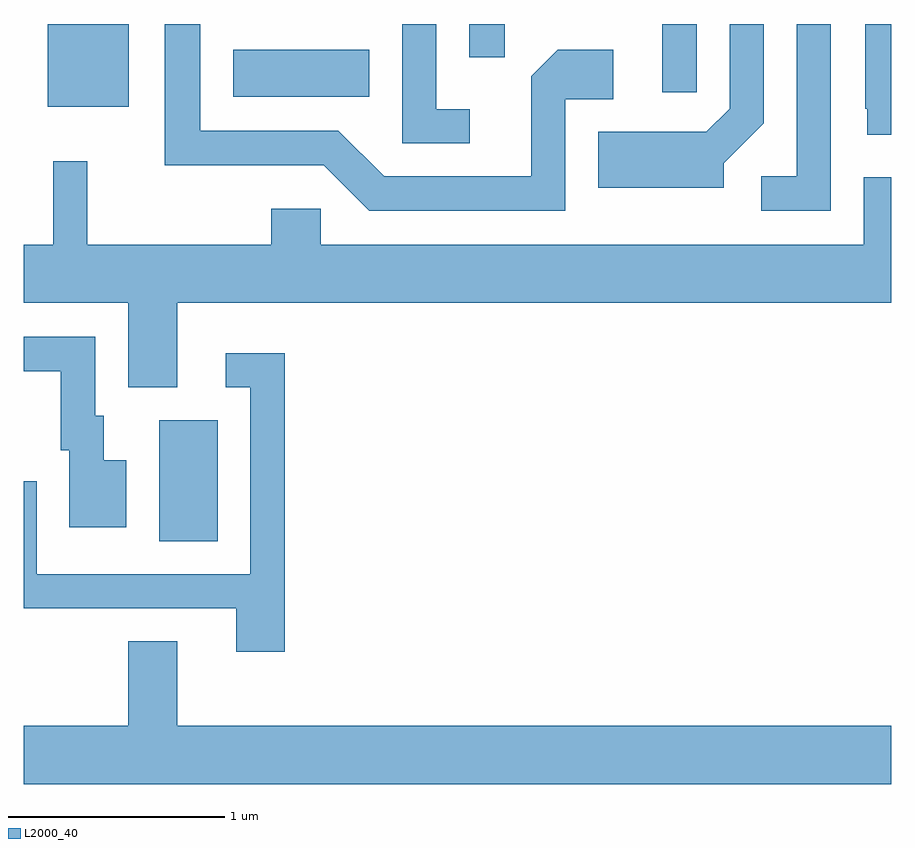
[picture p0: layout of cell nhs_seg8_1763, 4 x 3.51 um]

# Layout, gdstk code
import gdstk
lib = gdstk.Library(unit=1e-6, precision=1e-09)
def R(c, l, rs):  # rectangles x0, y0, x1, y1
    for r in rs: c.add(gdstk.rectangle(r[:2], r[2:], *l))
def P(c, l, *ps):  # polygons
    for p in ps: c.add(gdstk.Polygon(p, *l))
L2000_40 = (2000, 40)

nhs_seg8_1763 = lib.new_cell('nhs_seg8_1763')
R(nhs_seg8_1763, L2000_40, [(238.236,1861.956,238.504,1862.514), (237.721,1863.961,238.094,1864.342), (238.576,1864.006,239.204,1864.224), (240.556,1864.028,240.714,1864.342), (239.666,1864.188,239.829,1864.342)])
P(nhs_seg8_1763, L2000_40, [(240.839,1863.699),(241.024,1863.884),(241.024,1864.342),(240.866,1864.342),(240.866,1863.952),(240.759,1863.844),(240.261,1863.844),(240.261,1863.586),(240.839,1863.586)],
  [(241.611,1864.342),(241.491,1864.342),(241.491,1863.95),(241.501,1863.95),(241.501,1863.831),(241.611,1863.831)],
  [(241.334,1864.342),(241.176,1864.342),(241.176,1863.639),(241.013,1863.639),(241.013,1863.481),(241.334,1863.481)],
  [(240.109,1863.996),(240.329,1863.996),(240.329,1864.224),(240.074,1864.224),(239.951,1864.102),(239.951,1863.639),(239.272,1863.639),(239.062,1863.849),(238.424,1863.849),(238.424,1864.342),(238.261,1864.342),(238.261,1863.691),(238.994,1863.691),(239.204,1863.481),(240.109,1863.481)],
  [(239.668,1863.949),(239.514,1863.949),(239.514,1864.342),(239.356,1864.342),(239.356,1863.791),(239.668,1863.791)],
  [(238.319,1863.056),(241.611,1863.056),(241.611,1863.634),(241.486,1863.634),(241.486,1863.324),(238.979,1863.324),(238.979,1863.489),(238.751,1863.489),(238.751,1863.324),(237.904,1863.324),(237.904,1863.708),(237.746,1863.708),(237.746,1863.324),(237.611,1863.324),(237.611,1863.056),(238.091,1863.056),(238.091,1862.666),(238.319,1862.666)],
  [(238.084,1862.329),(237.979,1862.329),(237.979,1862.534),(237.939,1862.534),(237.939,1862.899),(237.611,1862.899),(237.611,1862.741),(237.781,1862.741),(237.781,1862.376),(237.821,1862.376),(237.821,1862.021),(238.084,1862.021)],
  [(238.814,1862.824),(238.543,1862.824),(238.543,1862.666),(238.656,1862.666),(238.656,1861.804),(237.669,1861.804),(237.669,1862.233),(237.611,1862.233),(237.611,1861.646),(238.591,1861.646),(238.591,1861.446),(238.814,1861.446)],
  [(241.611,1861.104),(238.319,1861.104),(238.319,1861.494),(238.091,1861.494),(238.091,1861.104),(237.611,1861.104),(237.611,1860.836),(241.611,1860.836)])

lib.write_gds('nhs_seg8_1763.gds')
